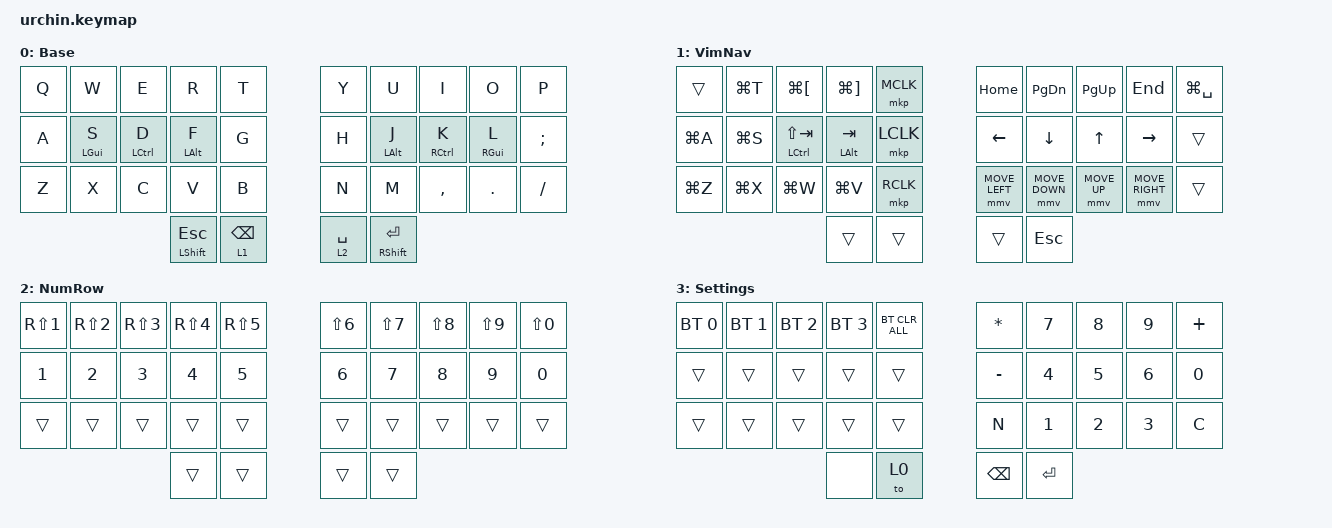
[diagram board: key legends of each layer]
/*
 * Copyright (c) 2020 duckyb
 *
 * SPDX-License-Identifier: MIT
 */

#include <dt-bindings/zmk/mouse.h>
#include <behaviors.dtsi>
#include <dt-bindings/zmk/bt.h>
#include <dt-bindings/zmk/keys.h>
#include <dt-bindings/zmk/pointing.h>
#include <dt-bindings/zmk/outputs.h>

#define ZMK_POINTING_DEFAULT_MOVE_VAL 900  // default: 600
#define ZMK_POINTING_DEFAULT_SCRL_VAL 10    // default: 10

// Layer definitions
#define BASE 0
#define NAV_L 1
#define OTHER_L 2
#define NUM_L 3
#define SYM_L 4
// -----------------


// Using layer taps on thumbs, having quick tap as well helps w/ repeating space/backspace 

&mt { quick-tap-ms = <200>; };
&lt { quick-tap-ms = <200>; };

/ {
    behaviors {
        hml: hml {
            compatible = "zmk,behavior-hold-tap";
            flavor = "balanced";
            tapping-term-ms = <280>;
            quick-tap-ms = <175>;
            #binding-cells = <2>;
            bindings = <&kp>, <&kp>;

            hold-trigger-key-positions = <5 6 7 8 9 15 16 17 18 19 25 26 27 28 29 32 33 30 31>;
            require-prior-idle-ms = <150>;
            hold-trigger-on-release;
        };

        hmr: hmr {
            compatible = "zmk,behavior-hold-tap";
            flavor = "balanced";
            tapping-term-ms = <280>;
            quick-tap-ms = <175>;
            #binding-cells = <2>;
            bindings = <&kp>, <&kp>;

            hold-trigger-key-positions = <0 1 2 3 4 10 11 12 13 14 20 21 22 23 24 31 30 32 33>;
            require-prior-idle-ms = <150>;
            hold-trigger-on-release;
        };

        hrlt: hrlt {
            compatible = "zmk,behavior-hold-tap";
            flavor = "balanced";
            tapping-term-ms = <280>;
            quick-tap-ms = <175>;
            #binding-cells = <2>;
            bindings = <&mo>, <&kp>;

            hold-trigger-key-positions = <5 6 7 8 9 15 16 17 18 19 25 26 27 28 29 32 33 30 31>;
            require-prior-idle-ms = <150>;
            hold-trigger-on-release;
            label = "HRLT";
        };

        hroa: hroa {
            compatible = "zmk,behavior-hold-tap";
            flavor = "balanced";
            tapping-term-ms = <280>;
            quick-tap-ms = <175>;
            #binding-cells = <2>;
            bindings = <&kp>, <&open_angle_quote>;

            hold-trigger-key-positions = <5 6 7 8 9 15 16 17 18 19 25 26 27 28 29 32 33 30 31>;
            require-prior-idle-ms = <150>;
            hold-trigger-on-release;
            label = "HROA";
        };
    };

    combos {
        compatible = "zmk,combos";

        /* enter { */
        /*     bindings = <&kp ENTER>; */
        /*     key-positions = <23 24>; */
        /*     layers = <0>; */
        /*     timeout-ms = <15>; */
        /*     require-prior-idle-ms = <200>; */
        /* }; */
        /**/
        /* num_lock { */
        /*     bindings = <&to 2>; */
        /*     key-positions = <33 32>; */
        /*     layers = <0>; */
        /*     timeout-ms = <15>; */
        /*     require-prior-idle-ms = <200>; */
        /* }; */
        /**/
        /* backsp { */
        /*     bindings = <&kp BACKSPACE>; */
        /*     key-positions = <13 14>; */
        /*     layers = <0>; */
        /*     timeout-ms = <15>; */
        /*     require-prior-idle-ms = <200>; */
        /* }; */
        /**/
        /* nav_lock { */
        /*     bindings = <&to 1>; */
        /*     key-positions = <31 30>; */
        /*     layers = <0 3>; */
        /*     timeout-ms = <15>; */
        /*     require-prior-idle-ms = <200>; */
        /* }; */

        back_home {
            bindings = <&to 0>;
            key-positions = <25 26>;
            timeout-ms = <15>;
            require-prior-idle-ms = <100>;
        };

        esc {
            bindings = <&kp ESCAPE>;
            key-positions = <0 1>;
            layers = <0>;
            timeout-ms = <15>;
            require-prior-idle-ms = <100>;
        };

        tab {
            bindings = <&kp TAB>;
            key-positions = <10 11>;
            layers = <0>;
            timeout-ms = <15>;
            require-prior-idle-ms = <100>;
        };

        /* suppr { */
        /*     bindings = <&kp DEL>; */
        /*     key-positions = <13 12>; */
        /*     timeout-ms = <15>; */
        /*     require-prior-idle-ms = <100>; */
        /*     layers = <0>; */
        /* }; */
        /**/
        /* comma_on_numeric { */
        /*     bindings = <&kp DOT>; */
        /*     key-positions = <15 16>; */
        /*     timeout-ms = <15>; */
        /*     require-prior-idle-ms = <100>; */
        /*     layers = <2>; */
        /* }; */

        board {
            bindings = <&to 3>;
            key-positions = <10 19 30 33>;
        };
    };

    macros {
        open_angle_quote: open_angle_quote {
            compatible = "zmk,behavior-macro";
            #binding-cells = <0>;
            bindings = <&kp LS(NUMBER_2) &kp LS(SPACE)>;
            label = "OPEN_ANGLE_QUOTE";
        };

        closed_angle_quote: closed_angle_quote {
            compatible = "zmk,behavior-macro";
            #binding-cells = <0>;
            bindings = <&kp LS(SPACE) &kp LS(NUMBER_3)>;
            label = "CLOSED_ANGLE_QUOTE";
        };
    };

    keymap {
        compatible = "zmk,keymap";

        default_layer {
            label = "Base";
            bindings = <
//        ┌───┬─────────────┬─────────────────────┬─────────────┬───────────┐       ┌──────────┬─────────────┬─────────────────────┬─────────────┬───┐
//        │ Q │      W      │          E          │      R      │     T     │       │    Y     │      U      │          I          │      O      │ P │
//        ├───┼─────────────┼─────────────────────┼─────────────┼───────────┤       ├──────────┼─────────────┼─────────────────────┼─────────────┼───┤
//        │ A │ &hml lgui S │ &hml left_CONTROL D │ &hml lalt F │     G     │       │    H     │ &hmr lalt J │ &hmr rght_CONTROL K │ &hmr rgui L │ ; │
//        ├───┼─────────────┼─────────────────────┼─────────────┼───────────┤       ├──────────┼─────────────┼─────────────────────┼─────────────┼───┤
//        │ Z │      X      │          C          │      V      │     B     │       │    N     │      M      │          ,          │      .      │ / │
//        └───┴─────────────┴─────────────────────┼─────────────┼───────────┤       ├──────────┼─────────────┼─────────────────────┴─────────────┴───┘
//                                                │ mt lsft esc │ lt 1 bspc │       │ lt 2 spc │ mt rsft ent │
//                                                └─────────────┴───────────┘       └──────────┴─────────────┘
      &kp Q   &kp W             &kp E                 &kp R           &kp T                     &kp Y         &kp U                   &kp I                  &kp O              &kp P
      &kp A   &hml LEFT_GUI S   &hml LEFT_CONTROL D   &hml LALT F     &kp G                     &kp H         &hmr LALT J             &hmr RIGHT_CONTROL K   &hmr RIGHT_GUI L   &kp SEMICOLON
      &kp Z   &kp X             &kp C                 &kp V           &kp B                     &kp N         &kp M                   &kp COMMA              &kp PERIOD         &kp FSLH
                                                      &mt LSHFT ESC   &lt 1 BACKSPACE           &lt 2 SPACE   &mt RIGHT_SHIFT ENTER
            >;
        };

        VimNav {
            label = "VimNav";
            bindings = <
//        ┌─────────┬─────────┬───────────────────────────┬─────────────┬──────┐       ┌────────────────┬────────────────┬──────────────┬────────────────┬───────────┐
//        │         │ lgui(T) │          lgui([)          │   lgui(])   │ mclk │       │      home      │      pgdn      │     pgup     │      end       │ lgui(spc) │
//        ├─────────┼─────────┼───────────────────────────┼─────────────┼──────┤       ├────────────────┼────────────────┼──────────────┼────────────────┼───────────┤
//        │ lgui(A) │ lgui(S) │ mt left_CONTROL lsft(tab) │ mt lalt tab │ lclk │       │      left      │      down      │      up      │      rght      │           │
//        ├─────────┼─────────┼───────────────────────────┼─────────────┼──────┤       ├────────────────┼────────────────┼──────────────┼────────────────┼───────────┤
//        │ lgui(Z) │ lgui(X) │          lgui(W)          │   lgui(V)   │ rclk │       │ &mmv MOVE_left │ &mmv MOVE_down │ &mmv MOVE_up │ &mmv MOVE_rght │           │
//        └─────────┴─────────┴───────────────────────────┼─────────────┼──────┤       ├────────────────┼────────────────┼──────────────┴────────────────┴───────────┘
//                                                        │             │      │       │                │      esc       │
//                                                        └─────────────┴──────┘       └────────────────┴────────────────┘
      &trans      &kp LG(T)   &kp LG(LBKT)               &kp LG(RBKT)       &mkp MCLK           &kp HOME         &kp PAGE_DOWN    &kp PG_UP      &kp END           &kp LG(SPACE)
      &kp LG(A)   &kp LG(S)   &mt LEFT_CONTROL LS(TAB)   &mt LEFT_ALT TAB   &mkp LCLK           &kp LEFT         &kp DOWN         &kp UP         &kp RIGHT         &trans
      &kp LG(Z)   &kp LG(X)   &kp LG(W)                  &kp LG(V)          &mkp RCLK           &mmv MOVE_LEFT   &mmv MOVE_DOWN   &mmv MOVE_UP   &mmv MOVE_RIGHT   &trans
                                                         &trans             &trans              &trans           &kp ESC
            >;
        };

        NumRow {
            label = "NumRow";
            bindings = <
//        ┌─────────┬─────────┬─────────┬─────────┬─────────┐       ┌─────────┬─────────┬─────────┬─────────┬─────────┐
//        │ rsft(1) │ rsft(2) │ rsft(3) │ rsft(4) │ rsft(5) │       │ lsft(6) │ lsft(7) │ lsft(8) │ lsft(9) │ lsft(0) │
//        ├─────────┼─────────┼─────────┼─────────┼─────────┤       ├─────────┼─────────┼─────────┼─────────┼─────────┤
//        │    1    │    2    │    3    │    4    │    5    │       │    6    │    7    │    8    │    9    │    0    │
//        ├─────────┼─────────┼─────────┼─────────┼─────────┤       ├─────────┼─────────┼─────────┼─────────┼─────────┤
//        │         │         │         │         │         │       │         │         │         │         │         │
//        └─────────┴─────────┴─────────┼─────────┼─────────┤       ├─────────┼─────────┼─────────┴─────────┴─────────┘
//                                      │         │         │       │         │         │
//                                      └─────────┴─────────┘       └─────────┴─────────┘
      &kp RS(N1)   &kp RS(N2)   &kp RS(N3)   &kp RS(N4)   &kp RS(N5)           &kp LS(N6)   &kp LS(N7)   &kp LS(N8)   &kp LS(N9)   &kp LS(N0)
      &kp N1       &kp N2       &kp N3       &kp N4       &kp N5               &kp N6       &kp N7       &kp N8       &kp N9       &kp N0
      &trans       &trans       &trans       &trans       &trans               &trans       &trans       &trans       &trans       &trans
                                             &trans       &trans               &trans       &trans
            >;
        };

        Board {
            label = "Settings";
            bindings = <
//        ┌──────────┬──────────┬──────────┬──────────┬────────────┐       ┌──────┬─────┬───┬───┬───┐
//        │ bt_sel 0 │ bt_sel 1 │ bt_sel 2 │ bt_sel 3 │ bt_clr_ALL │       │  *   │  7  │ 8 │ 9 │ + │
//        ├──────────┼──────────┼──────────┼──────────┼────────────┤       ├──────┼─────┼───┼───┼───┤
//        │          │          │          │          │            │       │  -   │  4  │ 5 │ 6 │ 0 │
//        ├──────────┼──────────┼──────────┼──────────┼────────────┤       ├──────┼─────┼───┼───┼───┤
//        │          │          │          │          │            │       │  N   │  1  │ 2 │ 3 │ C │
//        └──────────┴──────────┴──────────┼──────────┼────────────┤       ├──────┼─────┼───┴───┴───┘
//                                         │          │    to 0    │       │ bspc │ ent │
//                                         └──────────┴────────────┘       └──────┴─────┘
      &bt BT_SEL 0   &bt BT_SEL 1   &bt BT_SEL 2   &bt BT_SEL 3   &bt BT_CLR_ALL           &kp ASTERISK    &kp N7         &kp N8         &kp N9         &kp PLUS
      &trans         &trans         &trans         &trans         &trans                   &kp MINUS       &kp NUMBER_4   &kp N5         &kp NUMBER_6   &kp N0
      &trans         &trans         &trans         &trans         &trans                   &kp N           &kp NUMBER_1   &kp NUMBER_2   &kp NUMBER_3   &kp C
                                                   &none          &to 0                    &kp BACKSPACE   &kp ENTER
            >;
        };
    };
};
